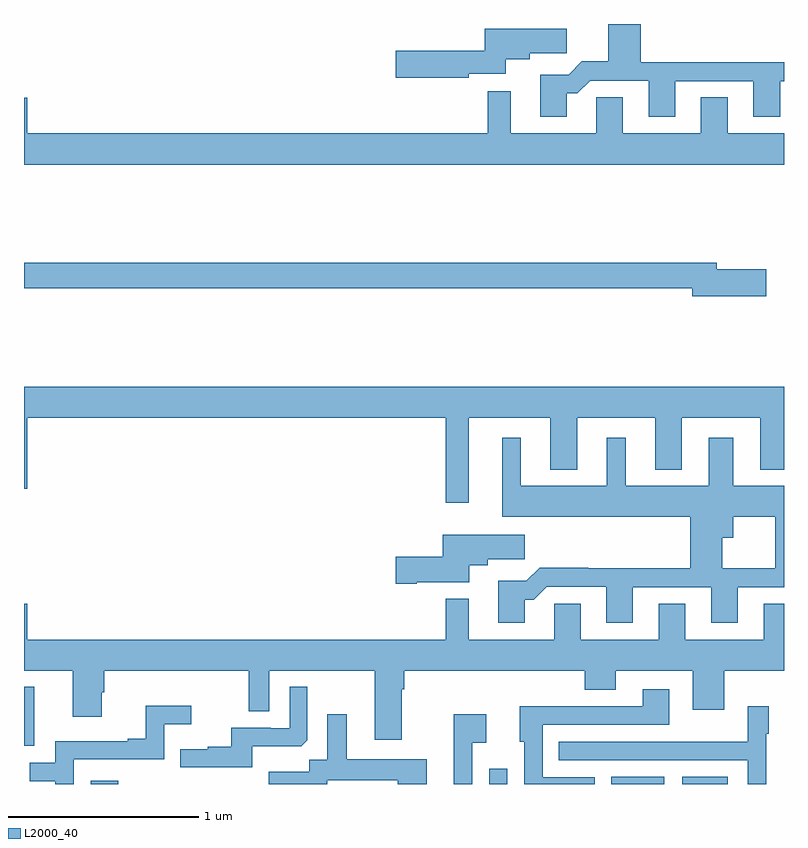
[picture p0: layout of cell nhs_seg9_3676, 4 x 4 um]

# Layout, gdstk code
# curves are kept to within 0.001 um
import gdstk
lib = gdstk.Library(unit=1e-6, precision=1e-09)
def R(c, l, rs):  # rectangles x0, y0, x1, y1
    for r in rs: c.add(gdstk.rectangle(r[:2], r[2:], *l))
def P(c, l, *ps):  # polygons
    for p in ps: c.add(gdstk.Polygon(p, *l))
L2000_40 = (2000, 40)

nhs_seg9_3676 = lib.new_cell('nhs_seg9_3676')
R(nhs_seg9_3676, L2000_40, [(321.351,1186.5,321.495,1186.516), (323.448,1186.5,323.544,1186.579), (324.092,1186.5,324.37,1186.537), (324.464,1186.5,324.703,1186.537), (321,1186.701,321.055,1187.011)])
P(nhs_seg9_3676, L2000_40, [(323.857,1190.135),(323.912,1190.135),(323.979,1190.202),(324.287,1190.202),(324.287,1190.013),(324.427,1190.013),(324.427,1190.199),(324.839,1190.199),(324.839,1190.013),(324.979,1190.013),(324.979,1190.199),(325,1190.199),(325,1190.3),(324.245,1190.3),(324.245,1190.5),(324.074,1190.5),(324.074,1190.303),(323.936,1190.303),(323.866,1190.233),(323.717,1190.233),(323.717,1190.013),(323.857,1190.013)],
  [(323.34,1190.237),(323.536,1190.237),(323.536,1190.315),(323.662,1190.315),(323.662,1190.347),(323.857,1190.347),(323.857,1190.476),(323.426,1190.476),(323.426,1190.36),(322.956,1190.36),(322.956,1190.218),(323.34,1190.218)],
  [(325,1189.924),(324.703,1189.924),(324.703,1190.114),(324.563,1190.114),(324.563,1189.924),(324.151,1189.924),(324.151,1190.114),(324.012,1190.114),(324.012,1189.924),(323.563,1189.924),(323.563,1190.146),(323.442,1190.146),(323.442,1189.924),(321.016,1189.924),(321.016,1190.113),(321,1190.113),(321,1189.76),(325,1189.76)],
  [(324.907,1189.208),(324.646,1189.208),(324.646,1189.244),(321,1189.244),(321,1189.108),(324.518,1189.108),(324.518,1189.066),(324.907,1189.066)],
  [(323.341,1188.428),(323.771,1188.428),(323.771,1188.155),(323.911,1188.155),(323.911,1188.428),(324.323,1188.428),(324.323,1188.155),(324.463,1188.155),(324.463,1188.428),(324.875,1188.428),(324.875,1188.155),(325,1188.155),(325,1188.592),(321,1188.592),(321,1188.054),(321.016,1188.054),(321.016,1188.428),(323.22,1188.428),(323.22,1187.979),(323.341,1187.979)],
  [(323.969,1187.639),(323.714,1187.639),(323.644,1187.569),(323.495,1187.569),(323.495,1187.349),(323.635,1187.349),(323.635,1187.471),(323.684,1187.471),(323.751,1187.538),(324.065,1187.538),(324.065,1187.349),(324.205,1187.349),(324.205,1187.535),(324.617,1187.535),(324.617,1187.349),(324.757,1187.349),(324.757,1187.535),(325,1187.535),(325,1188.07),(324.733,1188.07),(324.733,1188.322),(324.605,1188.322),(324.605,1188.07),(324.166,1188.07),(324.166,1188.322),(324.068,1188.322),(324.068,1188.07),(323.614,1188.07),(323.614,1188.322),(323.516,1188.322),(323.516,1187.906),(324.506,1187.906),(324.506,1187.636),(324.676,1187.636),(324.676,1187.795),(324.733,1187.795),(324.733,1187.906),(324.953,1187.906),(324.953,1187.636),(323.969,1187.636)],
  [(323.068,1187.561),(323.344,1187.561),(323.344,1187.651),(323.44,1187.651),(323.44,1187.683),(323.635,1187.683),(323.635,1187.812),(323.204,1187.812),(323.204,1187.696),(322.956,1187.696),(322.956,1187.554),(323.068,1187.554)],
  [(324.521,1186.89),(324.685,1186.89),(324.685,1187.096),(325,1187.096),(325,1187.45),(324.893,1187.45),(324.893,1187.26),(324.481,1187.26),(324.481,1187.45),(324.341,1187.45),(324.341,1187.26),(323.929,1187.26),(323.929,1187.45),(323.79,1187.45),(323.79,1187.26),(323.341,1187.26),(323.341,1187.476),(323.22,1187.476),(323.22,1187.26),(321.016,1187.26),(321.016,1187.449),(321,1187.449),(321,1187.096),(321.257,1187.096),(321.257,1186.854),(321.409,1186.854),(321.409,1186.983),(321.422,1186.983),(321.422,1187.096),(322.182,1187.096),(322.182,1186.882),(322.29,1186.882),(322.29,1187.096),(322.847,1187.096),(322.847,1186.734),(322.987,1186.734),(322.987,1187),(323,1187),(323,1187.096),(323.951,1187.096),(323.951,1186.997),(324.115,1186.997),(324.115,1187.096),(324.521,1187.096)],
  [(322.201,1186.7),(322.459,1186.7),(322.491,1186.731),(322.491,1187.011),(322.398,1187.011),(322.398,1186.794),(322.298,1186.794),(322.298,1186.797),(322.091,1186.797),(322.091,1186.696),(321.967,1186.696),(321.967,1186.684),(321.823,1186.684),(321.823,1186.587),(322.201,1186.587)],
  [(324.003,1186.536),(323.73,1186.536),(323.73,1186.812),(324.397,1186.812),(324.397,1186.999),(324.257,1186.999),(324.257,1186.908),(323.827,1186.908),(323.827,1186.91),(323.609,1186.91),(323.609,1186.722),(323.634,1186.722),(323.634,1186.5),(324.003,1186.5)],
  [(321.261,1186.629),(321.738,1186.629),(321.738,1186.814),(321.88,1186.814),(321.88,1186.913),(321.64,1186.913),(321.64,1186.738),(321.545,1186.738),(321.545,1186.725),(321.165,1186.725),(321.165,1186.611),(321.031,1186.611),(321.031,1186.515),(321.165,1186.515),(321.165,1186.5),(321.261,1186.5)],
  [(324.906,1186.764),(324.919,1186.764),(324.919,1186.909),(324.81,1186.909),(324.81,1186.723),(324.493,1186.723),(324.493,1186.722),(323.815,1186.722),(323.815,1186.626),(324.81,1186.626),(324.81,1186.5),(324.906,1186.5)],
  [(323.358,1186.718),(323.434,1186.718),(323.434,1186.867),(323.261,1186.867),(323.261,1186.5),(323.358,1186.5)],
  [(322.596,1186.52),(322.967,1186.52),(322.967,1186.5),(323.119,1186.5),(323.119,1186.63),(322.699,1186.63),(322.699,1186.867),(322.595,1186.867),(322.595,1186.628),(322.5,1186.628),(322.5,1186.564),(322.289,1186.564),(322.289,1186.5),(322.596,1186.5)])

lib.write_gds('nhs_seg9_3676.gds')
